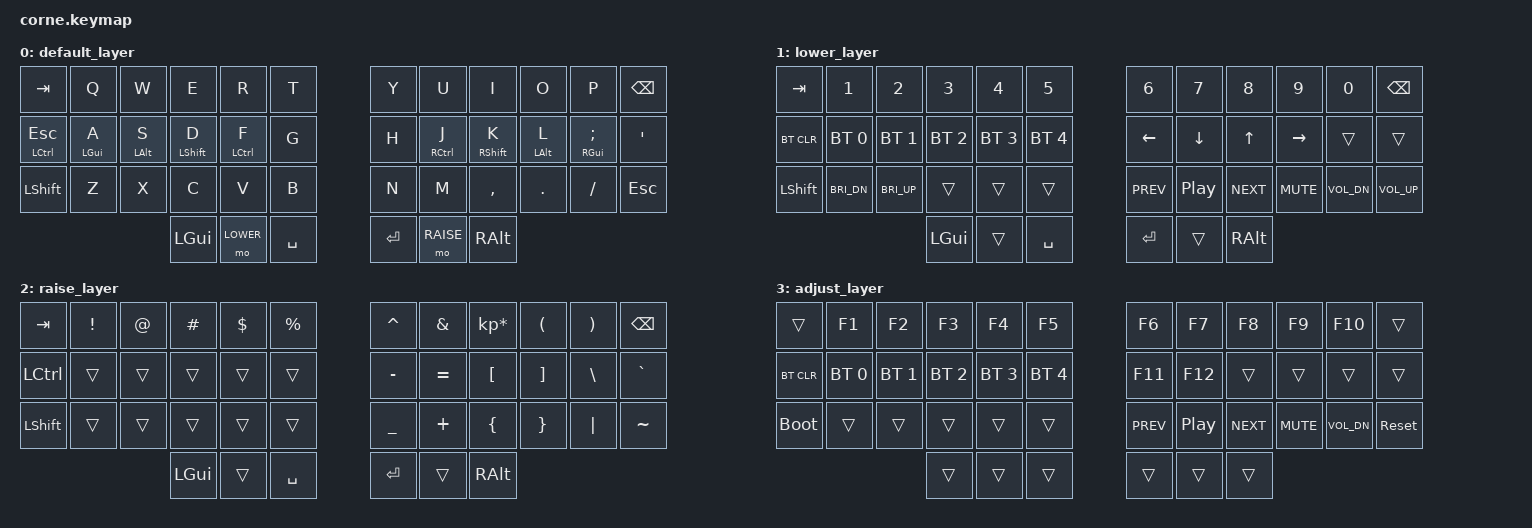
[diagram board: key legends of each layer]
/*
 * Copyright (c) 2020 The ZMK Contributors
 *
 * SPDX-License-Identifier: MIT
 */

#include <behaviors.dtsi>
#include <dt-bindings/zmk/keys.h>
#include <dt-bindings/zmk/bt.h>

#define BASE   0
#define LOWER  1
#define RAISE  2
#define ADJUST 3

// Key positions (12 per row, thumbs 36-41):
//  0  1  2  3  4  5     6  7  8  9 10 11
// 12 13 14 15 16 17    18 19 20 21 22 23
// 24 25 26 27 28 29    30 31 32 33 34 35
//          36 37 38    39 40 41
#define KEYS_L 0 1 2 3 4 5 12 13 14 15 16 17 24 25 26 27 28 29
#define KEYS_R 6 7 8 9 10 11 18 19 20 21 22 23 30 31 32 33 34 35
#define THUMBS 36 37 38 39 40 41

/ {
        behaviors {
                // Home row mods: a key only becomes a modifier when the next key
                // pressed is on the opposite hand (or a thumb). Same-hand rolls
                // stay letters, which avoids most accidental mods while typing.
                hml: home_row_mod_left {
                        compatible = "zmk,behavior-hold-tap";
                        #binding-cells = <2>;
                        flavor = "balanced";
                        tapping-term-ms = <280>;
                        quick-tap-ms = <175>;
                        require-prior-idle-ms = <150>;
                        bindings = <&kp>, <&kp>;
                        hold-trigger-key-positions = <KEYS_R THUMBS>;
                        hold-trigger-on-release;
                };
                hmr: home_row_mod_right {
                        compatible = "zmk,behavior-hold-tap";
                        #binding-cells = <2>;
                        flavor = "balanced";
                        tapping-term-ms = <280>;
                        quick-tap-ms = <175>;
                        require-prior-idle-ms = <150>;
                        bindings = <&kp>, <&kp>;
                        hold-trigger-key-positions = <KEYS_L THUMBS>;
                        hold-trigger-on-release;
                };
        };

        // Hold Lower + Raise together -> Adjust layer
        conditional_layers {
                compatible = "zmk,conditional-layers";
                tri_layer {
                        if-layers = <LOWER RAISE>;
                        then-layer = <ADJUST>;
                };
        };

        keymap {
                compatible = "zmk,keymap";

                default_layer {
// -----------------------------------------------------------------------------------------
// |  TAB  |  Q   |  W   |  E   |  R   |  T  |   |  Y  |  U   |  I   |  O   |  P   | BKSP |
// |CTL/ESC|A/GUI |S/ALT |D/SFT |F/CTL |  G  |   |  H  |J/CTL |K/SFT |L/ALT |;/GUI |  '   |
// | SHFT  |  Z   |  X   |  C   |  V   |  B  |   |  N  |  M   |  ,   |  .   |  /   | ESC  |
//                       | GUI  | LWR  | SPC |   | ENT | RSE  | ALT  |
                        bindings = <
   &kp TAB          &kp Q          &kp W          &kp E           &kp R          &kp T   &kp Y &kp U          &kp I           &kp O          &kp P             &kp BSPC
   &mt LCTRL ESC    &hml LGUI A    &hml LALT S    &hml LSHFT D    &hml LCTRL F   &kp G   &kp H &hmr RCTRL J   &hmr RSHFT K    &hmr LALT L    &hmr RGUI SEMI    &kp SQT
   &kp LSHFT        &kp Z          &kp X          &kp C           &kp V          &kp B   &kp N &kp M          &kp COMMA       &kp DOT        &kp FSLH          &kp ESC
                                   &kp LGUI       &mo LOWER       &kp SPACE              &kp RET &mo RAISE    &kp RALT
                        >;
                };

                lower_layer {
// -----------------------------------------------------------------------------------------
// |  TAB |  1   |  2   |  3  |  4  |  5  |   |  6   |  7   |  8   |  9   |  0   | BKSP |
// | BTCLR| BT1  | BT2  | BT3 | BT4 | BT5 |   | LFT  | DWN  |  UP  | RGT  |      |      |
// | SHFT | BRI- | BRI+ |     |     |     |   | PREV | PLAY | NEXT | MUTE | VOL- | VOL+ |
//                      | GUI |     | SPC |   | ENT  |      | ALT  |
                        bindings = <
   &kp TAB    &kp N1       &kp N2       &kp N3       &kp N4       &kp N5         &kp N6     &kp N7   &kp N8     &kp N9     &kp N0       &kp BSPC
   &bt BT_CLR &bt BT_SEL 0 &bt BT_SEL 1 &bt BT_SEL 2 &bt BT_SEL 3 &bt BT_SEL 4   &kp LEFT   &kp DOWN &kp UP     &kp RIGHT  &trans       &trans
   &kp LSHFT  &kp C_BRI_DN &kp C_BRI_UP &trans       &trans       &trans         &kp C_PREV &kp C_PP &kp C_NEXT &kp C_MUTE &kp C_VOL_DN &kp C_VOL_UP
                                        &kp LGUI     &trans       &kp SPACE      &kp RET    &trans   &kp RALT
                        >;
                };

                raise_layer {
// -----------------------------------------------------------------------------------------
// |  TAB |  !  |  @  |  #  |  $  |  %  |   |  ^  |  &  |  *  |  (  |  )  | BKSP |
// | CTRL |     |     |     |     |     |   |  -  |  =  |  [  |  ]  |  \  |  `   |
// | SHFT |     |     |     |     |     |   |  _  |  +  |  {  |  }  | "|" |  ~   |
//                    | GUI |     | SPC |   | ENT |     | ALT |
                        bindings = <
   &kp  TAB  &kp EXCL &kp AT &kp HASH &kp DLLR &kp PRCNT   &kp CARET &kp AMPS  &kp KP_MULTIPLY &kp LPAR &kp RPAR &kp BSPC
   &kp LCTRL &trans   &trans &trans   &trans   &trans      &kp MINUS &kp EQUAL &kp LBKT        &kp RBKT &kp BSLH &kp GRAVE
   &kp LSHFT &trans   &trans &trans   &trans   &trans      &kp UNDER &kp PLUS  &kp LBRC        &kp RBRC &kp PIPE &kp TILDE
                             &kp LGUI &trans   &kp SPACE   &kp RET   &trans    &kp RALT
                        >;
                };

                adjust_layer {
// -----------------------------------------------------------------------------------------
// |      |  F1  |  F2 |  F3 |  F4 |  F5 |   |  F6  |  F7  |  F8  |  F9  | F10  |       |
// | BTCLR| BT1  | BT2 | BT3 | BT4 | BT5 |   | F11  | F12  |      |      |      |       |
// | BOOT |      |     |     |     |     |   | PREV | PLAY | NEXT | MUTE | VOL- | RESET |
//                     |     | LWR |     |   |      | RSE  |      |
                        bindings = <
   &trans      &kp F1       &kp F2       &kp F3       &kp F4       &kp F5         &kp F6     &kp F7   &kp F8     &kp F9     &kp F10      &trans
   &bt BT_CLR  &bt BT_SEL 0 &bt BT_SEL 1 &bt BT_SEL 2 &bt BT_SEL 3 &bt BT_SEL 4   &kp F11    &kp F12  &trans     &trans     &trans       &trans
   &bootloader &trans       &trans       &trans       &trans       &trans         &kp C_PREV &kp C_PP &kp C_NEXT &kp C_MUTE &kp C_VOL_DN &sys_reset
                                         &trans       &trans       &trans         &trans     &trans   &trans
                        >;
                };
        };
};
